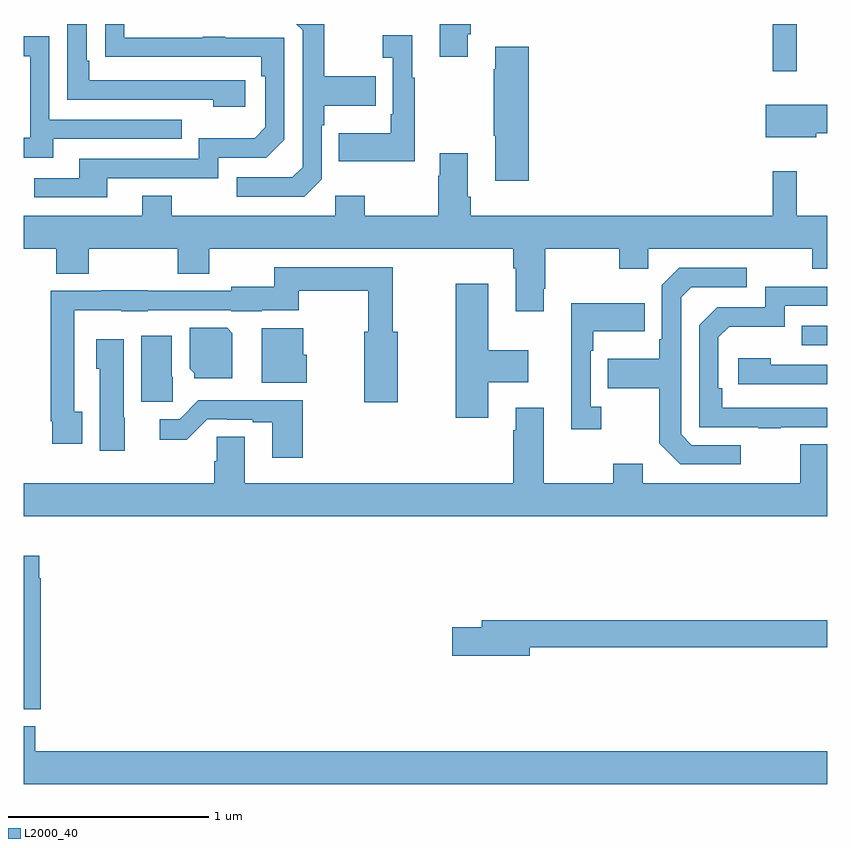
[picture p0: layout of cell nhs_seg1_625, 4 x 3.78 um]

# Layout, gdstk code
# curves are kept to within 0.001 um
import gdstk
lib = gdstk.Library(unit=1e-6, precision=1e-09)
def R(c, l, rs):  # rectangles x0, y0, x1, y1
    for r in rs: c.add(gdstk.rectangle(r[:2], r[2:], *l))
def P(c, l, *ps):  # polygons
    for p in ps: c.add(gdstk.Polygon(p, *l))
L2000_40 = (2000, 40)

nhs_seg1_625 = lib.new_cell('nhs_seg1_625')
R(nhs_seg1_625, L2000_40, [(148.873,536.601,149,536.697), (148.728,537.963,148.849,538.199)])
P(nhs_seg1_625, L2000_40, [(147.211,538.147),(147.224,538.147),(147.224,538.199),(147.071,538.199),(147.071,538.035),(147.211,538.035)],
  [(145.417,537.432),(145.968,537.432),(145.968,537.534),(146.208,537.534),(146.298,537.624),(146.298,538.131),(146.003,538.131),(146.003,538.136),(145.891,538.136),(145.891,538.131),(145.501,538.131),(145.501,538.199),(145.405,538.199),(145.405,538.036),(146.182,538.035),(146.182,537.938),(146.202,537.938),(146.202,537.684),(146.149,537.631),(145.872,537.631),(145.872,537.528),(145.277,537.528),(145.277,537.432),(145.053,537.432),(145.053,537.336),(145.417,537.336)],
  [(146.484,537.426),(146.484,537.695),(146.497,537.695),(146.497,537.791),(146.753,537.791),(146.753,537.939),(146.497,537.939),(146.497,538.199),(146.356,538.199),(146.388,538.167),(146.388,537.486),(146.337,537.435),(146.061,537.435),(146.061,537.339),(146.397,537.339)],
  [(146.104,537.918),(145.327,537.918),(145.327,538.015),(145.314,538.015),(145.314,538.199),(145.218,538.199),(145.218,537.822),(145.943,537.822),(145.943,537.788),(146.104,537.788)],
  [(146.947,537.931),(146.935,537.931),(146.935,538.144),(146.787,538.144),(146.787,538.031),(146.838,538.031),(146.838,537.751),(146.826,537.751),(146.826,537.655),(146.569,537.655),(146.569,537.515),(146.947,537.515)],
  [(145.147,537.627),(145.787,537.627),(145.787,537.723),(145.128,537.723),(145.128,538.139),(145,538.139),(145,538.038),(145.032,538.038),(145.032,537.633),(145,537.633),(145,537.533),(145.147,537.533)],
  [(147.515,538.087),(147.347,538.087),(147.347,537.974),(147.34,537.974),(147.34,537.643),(147.347,537.643),(147.347,537.42),(147.515,537.42)],
  [(148.944,537.656),(149,537.656),(149,537.796),(148.694,537.796),(148.694,537.635),(148.944,537.635)],
  [(147.211,537.34),(147.211,537.556),(147.071,537.556),(147.071,537.443),(147.064,537.443),(147.064,537.244),(146.697,537.244),(146.697,537.343),(146.55,537.343),(146.55,537.244),(145.737,537.244),(145.737,537.343),(145.589,537.343),(145.589,537.244),(145,537.244),(145,537.08),(145.163,537.08),(145.163,536.956),(145.323,536.956),(145.323,537.08),(145.768,537.08),(145.768,536.956),(145.923,536.956),(145.923,537.08),(147.437,537.08),(147.437,536.984),(147.449,536.984),(147.449,536.769),(147.589,536.769),(147.589,536.881),(147.597,536.881),(147.597,537.08),(147.964,537.08),(147.964,536.981),(148.11,536.981),(148.11,537.08),(148.924,537.08),(148.924,536.981),(149,536.981),(149,537.244),(148.849,537.244),(148.849,537.466),(148.728,537.466),(148.728,537.244),(147.224,537.244),(147.224,537.34)],
  [(145.291,536.27),(145.251,536.27),(145.251,536.774),(145.485,536.774),(145.485,536.768),(145.617,536.768),(145.617,536.775),(146.034,536.775),(146.034,536.768),(146.184,536.768),(146.184,536.774),(146.368,536.774),(146.368,536.872),(146.715,536.872),(146.715,536.668),(146.696,536.668),(146.696,536.316),(146.862,536.316),(146.862,536.668),(146.836,536.668),(146.836,536.988),(146.247,536.988),(146.247,536.89),(146.034,536.89),(146.034,536.871),(145.617,536.871),(145.617,536.873),(145.385,536.873),(145.385,536.871),(145.135,536.871),(145.135,536.221),(145.143,536.221),(145.143,536.109),(145.291,536.109)],
  [(148.57,536.103),(148.326,536.103),(148.272,536.157),(148.272,536.838),(148.323,536.889),(148.6,536.889),(148.6,536.985),(148.263,536.985),(148.176,536.898),(148.176,536.629),(148.164,536.629),(148.164,536.533),(147.907,536.533),(147.907,536.386),(148.164,536.386),(148.164,536.113),(148.269,536.007),(148.57,536.007)],
  [(147.313,536.417),(147.511,536.417),(147.511,536.575),(147.313,536.575),(147.313,536.905),(147.151,536.905),(147.151,536.238),(147.313,536.238)],
  [(148.769,536.193),(149,536.193),(149,536.289),(148.478,536.289),(148.478,536.386),(148.458,536.386),(148.458,536.64),(148.511,536.693),(148.788,536.693),(148.788,536.796),(149,536.796),(149,536.892),(148.692,536.892),(148.692,536.79),(148.452,536.79),(148.362,536.7),(148.362,536.193),(148.657,536.193),(148.657,536.188),(148.769,536.188)],
  [(147.874,536.294),(147.822,536.294),(147.822,536.573),(147.835,536.573),(147.835,536.669),(148.091,536.669),(148.091,536.809),(147.725,536.809),(147.725,536.181),(147.874,536.181)],
  [(146.038,536.66),(146.012,536.686),(145.826,536.686),(145.826,536.482),(145.848,536.46),(145.848,536.435),(146.038,536.435)],
  [(146.41,536.553),(146.392,536.553),(146.392,536.684),(146.186,536.684),(146.186,536.414),(146.41,536.414)],
  [(145.742,536.442),(145.738,536.442),(145.738,536.647),(145.586,536.647),(145.586,536.319),(145.742,536.319)],
  [(145.504,536.238),(145.498,536.238),(145.498,536.629),(145.361,536.629),(145.361,536.484),(145.379,536.484),(145.379,536.076),(145.504,536.076)],
  [(149,536.502),(148.718,536.502),(148.718,536.536),(148.557,536.536),(148.557,536.406),(149,536.406)],
  [(146.39,536.326),(145.87,536.326),(145.776,536.232),(145.677,536.232),(145.677,536.13),(145.812,536.13),(145.914,536.232),(146.014,536.232),(146.014,536.229),(146.141,536.229),(146.141,536.217),(146.237,536.217),(146.237,536.04),(146.39,536.04)],
  [(149,536.107),(148.865,536.107),(148.865,535.912),(148.081,535.912),(148.081,536.011),(147.934,536.011),(147.934,535.912),(147.589,535.912),(147.589,536.29),(147.449,536.29),(147.449,536.177),(147.437,536.177),(147.437,535.912),(146.101,535.912),(146.101,536.144),(145.962,536.144),(145.962,536.022),(145.949,536.022),(145.949,535.912),(145,535.912),(145,535.748),(149,535.748)],
  [(145.085,535.439),(145.078,535.439),(145.078,535.552),(145,535.552),(145,534.789),(145.085,534.789)],
  [(147.52,535.096),(149,535.096),(149,535.232),(147.281,535.232),(147.281,535.196),(147.132,535.196),(147.132,535.054),(147.52,535.054)],
  [(149,534.58),(145.058,534.58),(145.058,534.704),(145,534.704),(145,534.416),(149,534.416)])

lib.write_gds('nhs_seg1_625.gds')
